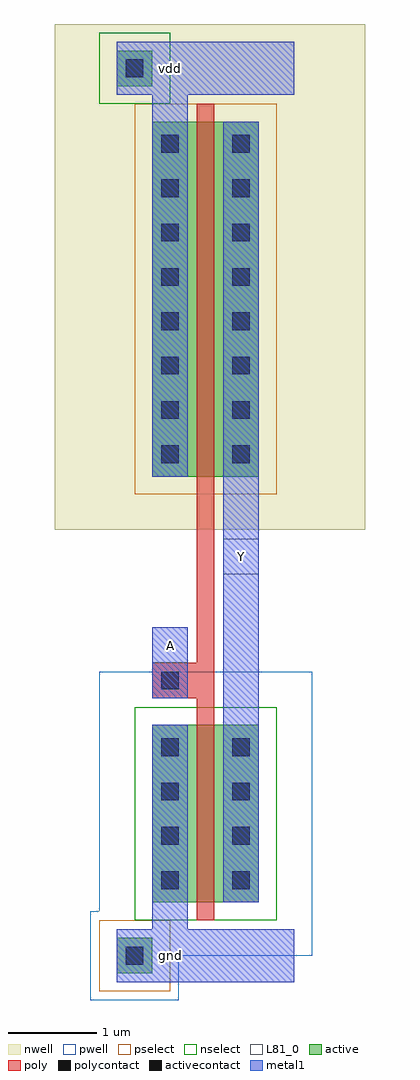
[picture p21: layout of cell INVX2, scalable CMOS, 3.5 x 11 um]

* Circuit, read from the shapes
.subckt INVX2 A Y gnd vdd
M1 Y A gnd gnd nfet w=2u l=0.2u
M2 Y A vdd vdd pfet w=4u l=0.2u
.ends

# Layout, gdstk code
import gdstk
lib = gdstk.Library(unit=1e-6, precision=1e-09)
def R(c, l, rs):  # rectangles x0, y0, x1, y1
    for r in rs: c.add(gdstk.rectangle(r[:2], r[2:], *l))
def A(c, l, x, y, w, h, nx, ny, dx, dy):  # array of equal rectangles
    R(c, l, [(x+i*dx, y+j*dy, x+i*dx+w, y+j*dy+h) for i in range(nx) for j in range(ny)])
pwell = (41, 0)
nwell = (42, 0)
active = (43, 0)
pselect = (44, 0)
nselect = (45, 0)
poly = (46, 0)
polycontact = (47, 0)
activecontact = (48, 0)
metal1 = (49, 0)
L81_0 = (81, 0)

invx2 = lib.new_cell('INVX2')
R(invx2, pwell, [(-0.5,-0.5,0.5,0), (-0.5,0,2,0.5), (-0.4,0.5,2,3.2)])
R(invx2, nwell, [(-0.9,4.8,2.6,10.5)])
R(invx2, active, [(-0.2,-0.2,0.2,0.2), (0.2,0.6,1.4,2.6), (0.2,5.4,1.4,9.4), (-0.2,9.8,0.2,10.2)])
R(invx2, pselect, [(-0.4,-0.4,0.4,0.4), (0,5.2,1.6,9.6)])
R(invx2, nselect, [(0,0.4,1.6,2.8), (-0.4,9.6,0.4,10.4)])
R(invx2, poly, [(0.7,0.4,0.9,2.9), (0.2,2.9,0.9,3.3), (0.7,3.3,0.9,9.6)])
R(invx2, polycontact, [(0.3,3,0.5,3.2)])
A(invx2, activecontact, 0.3, 0.75, 0.2, 0.2, 1, 4, 0, 0.5)
A(invx2, activecontact, 1.1, 0.75, 0.2, 0.2, 1, 4, 0, 0.5)
A(invx2, activecontact, 0.3, 5.55, 0.2, 0.2, 1, 8, 0, 0.5)
A(invx2, activecontact, 1.1, 5.55, 0.2, 0.2, 1, 8, 0, 0.5)
R(invx2, activecontact, [(-0.1,-0.1,0.1,0.1), (-0.1,9.9,0.1,10.1)])
R(invx2, metal1, [(-0.2,-0.3,1.8,0.3), (0.2,0.3,0.6,2.6), (1,0.6,1.4,9.4), (0.2,2.9,0.6,3.7), (0.2,5.4,0.6,9.7), (-0.2,9.7,1.8,10.3)])
R(invx2, L81_0, [(0.2,3.3,0.6,3.7), (1,4.3,1.4,4.7)])
invx2.add(gdstk.Label('vdd', (0.4,10), layer=49, texttype=0))
invx2.add(gdstk.Label('gnd', (0.4,0), layer=49, texttype=0))
invx2.add(gdstk.Label('Y', (1.2,4.5), layer=49, texttype=0))
invx2.add(gdstk.Label('A', (0.4,3.5), layer=49, texttype=0))

lib.write_gds('INVX2.gds')
